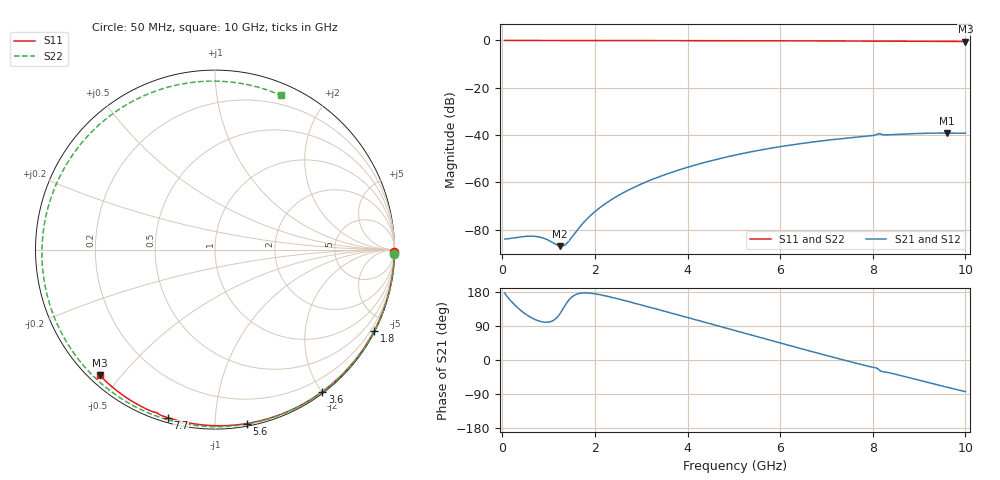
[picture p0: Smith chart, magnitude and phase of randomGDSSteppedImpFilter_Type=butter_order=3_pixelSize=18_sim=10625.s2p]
! freq	dB(S11)	phase(S11)	dB(S12)	phase(S12)
!  dB(S21)	phase(S21)	dB(S22)	phase(S22)
!S-par simulation data
#  GHz  S  DB  R 50
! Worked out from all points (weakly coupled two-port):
!   200 points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, 50 MHz to 10 GHz, reference 50 ohm
!   highest |S21| = -39.12 dB at 9.6 GHz (marker M1); lowest = -86.9 dB at 1.25 GHz (marker M2)
!   lowest |S11| = -0.4 dB at 10 GHz (marker M3), VSWR 39.08, Z = 1.53 - j22 ohm
!   |S11| at or under -10 dB: nowhere
!   |S22| runs from -0.6 to 0.0 dB; largest |S21 - S12| = 0
!   S11 on the Smith chart (normalised r, x): 50 MHz: open; 1.8 GHz: 0.04, -4.15; 3.6 GHz: 0.02, -2.01; 5.6 GHz: 0.02, -1.20; 7.7 GHz: 0.02, -0.76; 10 GHz: 0.03, -0.44
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0.05  -0.00 -0.8  -83.90 177.1  -83.90 177.1  -0.00 -1.5
0.65  -0.01 -9.9  -82.70 110.3  -82.70 110.3  -0.02 -19.8
1.25  -0.02 -18.9  -86.91 123.0  -86.91 123.0  -0.05 -37.8
1.6  -0.03 -24.1  -80.57 173.4  -80.57 173.4  -0.06 -48.0
1.75  -0.03 -26.3  -77.04 177.0  -77.04 177.0  -0.07 -52.4
1.8  -0.03 -27.1  -75.99 177.1  -75.99 177.1  -0.07 -53.8
2.1  -0.04 -31.5  -70.74 172.5  -70.74 172.5  -0.08 -62.4
2.45  -0.05 -36.6  -66.13 162.8  -66.13 162.8  -0.09 -72.2
3.4  -0.07 -50.1  -57.50 132.1  -57.50 132.1  -0.13 -98.1
3.6  -0.07 -52.9  -56.10 125.5  -56.10 125.5  -0.14 -103.3
4.3  -0.09 -62.5  -51.90 102.0  -51.90 102.0  -0.17 -121.5
5.05  -0.11 -72.6  -48.34 76.7  -48.34 76.7  -0.21 -140.8
5.6  -0.13 -79.7  -46.21 58.2  -46.21 58.2  -0.25 -154.9
6.15  -0.15 -86.7  -44.42 39.8  -44.42 39.8  -0.29 -169.3
6.7  -0.18 -93.5  -42.91 21.8  -42.91 21.8  -0.33 175.9
7.2  -0.21 -99.7  -41.75 5.5  -41.75 5.5  -0.37 161.8
7.7  -0.24 -105.7  -40.77 -10.4  -40.77 -10.4  -0.42 147.0
8.15  -0.29 -110.8  -39.33 -27.7  -39.33 -27.7  -0.46 133.0
8.35  -0.29 -113.2  -39.83 -33.5  -39.83 -33.5  -0.47 126.5
9  -0.34 -120.8  -39.29 -53.3  -39.29 -53.3  -0.52 104.3
9.6  -0.40 -127.8  -39.12 -71.8  -39.12 -71.8  -0.56 82.2
10  -0.44 -132.4  -39.19 -83.4  -39.19 -83.4  -0.59 66.7
